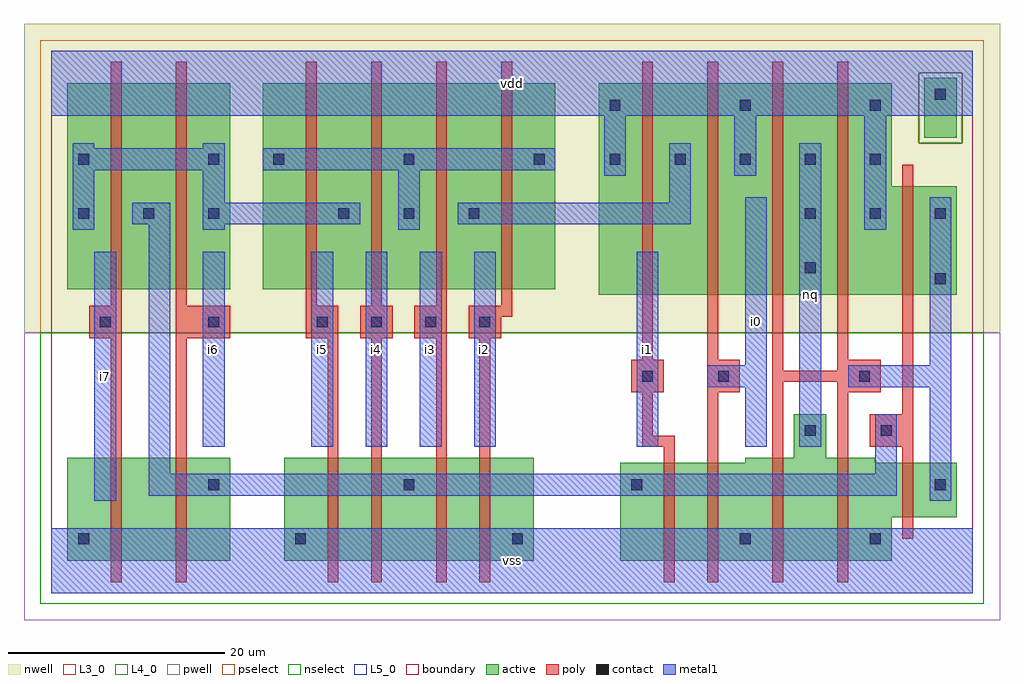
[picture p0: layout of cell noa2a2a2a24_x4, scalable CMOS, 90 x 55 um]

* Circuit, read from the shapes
.subckt noa2a2a2a24_x4 i0 i1 i2 i3 i4 i5 i6 i7 nq vdd vss
M1 n1 i7 vss VSUBS nfet w=9.5u l=1u
M2 n2 i6 n1 VSUBS nfet w=9.5u l=1u
M3 n3 i5 vss VSUBS nfet w=9.5u l=1u
M4 n2 i4 n3 VSUBS nfet w=9.5u l=1u
M5 n4 i3 n2 VSUBS nfet w=9.5u l=1u
M6 vss i2 n4 VSUBS nfet w=9.5u l=1u
M7 n5 i1 n2 VSUBS nfet w=9u l=1u
M8 vss i0 n5 VSUBS nfet w=9u l=1u
M9 nq n6 vss VSUBS nfet w=9.5u l=1u m=2
M10 n6 n2 vss VSUBS nfet w=5u l=1u
M11 n2 i7 n7 vdd pfet w=19u l=1u
M12 n7 i6 n2 vdd pfet w=19u l=1u
M13 n7 i5 n8 vdd pfet w=19u l=1u
M14 n8 i4 n7 vdd pfet w=19u l=1u
M15 n9 i3 n8 vdd pfet w=19u l=1u
M16 n8 i2 n9 vdd pfet w=19u l=1u
M17 n9 i1 vdd vdd pfet w=19.5u l=1u
M18 vdd i0 n9 vdd pfet w=19.5u l=1u
M19 nq n6 vdd vdd pfet w=19.5u l=1u m=2
M20 n6 n2 vdd vdd pfet w=10u l=1u
.ends

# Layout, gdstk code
import gdstk
lib = gdstk.Library(unit=1e-6, precision=1e-09)
def R(c, l, rs):  # rectangles x0, y0, x1, y1
    for r in rs: c.add(gdstk.rectangle(r[:2], r[2:], *l))
def A(c, l, x, y, w, h, nx, ny, dx, dy):  # array of equal rectangles
    R(c, l, [(x+i*dx, y+j*dy, x+i*dx+w, y+j*dy+h) for i in range(nx) for j in range(ny)])
L3_0 = (3, 0)
L4_0 = (4, 0)
L5_0 = (5, 0)
contact = (25, 0)
pwell = (41, 0)
nwell = (42, 0)
active = (43, 0)
pselect = (44, 0)
nselect = (45, 0)
poly = (46, 0)
metal1 = (49, 0)
boundary = (63, 0)

noa2a2a2a24_x4 = lib.new_cell('noa2a2a2a24_x4')
R(noa2a2a2a24_x4, L3_0, [(1.5,3,16.5,12.5), (21.5,3,44.5,12.5), (52.5,3,77.5,7), (52.5,7,83.5,12), (64,12,76,12.5), (68.5,12.5,71.5,16.5)])
R(noa2a2a2a24_x4, L4_0, [(50.5,27.5,83.5,37.5), (1.5,28,16.5,47), (19.5,28,46.5,47), (50.5,37.5,77.5,47)])
R(noa2a2a2a24_x4, L5_0, [(80.5,42,83.5,47.5)])
A(noa2a2a2a24_x4, contact, 2.5, 4.5, 1, 1, 3, 1, 20, 0)
A(noa2a2a2a24_x4, contact, 4.5, 24.5, 1, 1, 3, 1, 10, 0)
A(noa2a2a2a24_x4, contact, 29.5, 24.5, 1, 1, 3, 1, 5, 0)
A(noa2a2a2a24_x4, contact, 2.5, 34.5, 1, 1, 3, 1, 6, 0)
A(noa2a2a2a24_x4, contact, 26.5, 34.5, 1, 1, 3, 1, 6, 0)
A(noa2a2a2a24_x4, contact, 69.5, 34.5, 1, 1, 3, 1, 6, 0)
A(noa2a2a2a24_x4, contact, 20.5, 39.5, 1, 1, 3, 1, 12, 0)
A(noa2a2a2a24_x4, contact, 51.5, 39.5, 1, 1, 5, 1, 6, 0)
A(noa2a2a2a24_x4, contact, 51.5, 44.5, 1, 1, 3, 1, 12, 0)
R(noa2a2a2a24_x4, contact, [(63.5,4.5,64.5,5.5), (75.5,4.5,76.5,5.5), (14.5,9.5,15.5,10.5), (32.5,9.5,33.5,10.5), (53.5,9.5,54.5,10.5), (81.5,9.5,82.5,10.5), (69.5,14.5,70.5,15.5), (76.5,14.5,77.5,15.5), (54.5,19.5,55.5,20.5), (61.5,19.5,62.5,20.5), (74.5,19.5,75.5,20.5), (81.5,28.5,82.5,29.5), (69.5,29.5,70.5,30.5), (2.5,39.5,3.5,40.5), (14.5,39.5,15.5,40.5), (81.5,45.5,82.5,46.5)])
R(noa2a2a2a24_x4, pwell, [(-2.5,-2.5,87.5,24)])
R(noa2a2a2a24_x4, nwell, [(-2.5,24,87.5,52.5)])
R(noa2a2a2a24_x4, active, [(1.5,3,16.5,12.5), (21.5,3,44.5,12.5), (52.5,3,77.5,7), (52.5,7,83.5,12), (64,12,76,12.5), (68.5,12.5,71.5,16.5), (50.5,27.5,83.5,37.5), (1.5,28,16.5,47), (19.5,28,46.5,47), (50.5,37.5,77.5,47), (80.5,42,83.5,47.5)])
R(noa2a2a2a24_x4, pselect, [(-1,24,86,41.5), (-1,41.5,80,48), (84,41.5,86,48), (-1,48,86,51)])
R(noa2a2a2a24_x4, nselect, [(-1,-1,86,24), (80,41.5,84,48)])
A(noa2a2a2a24_x4, poly, 23.5, 23.5, 3, 3, 3, 1, 5, 0)
A(noa2a2a2a24_x4, poly, 23.5, 26.5, 1, 22.5, 4, 1, 6, 0)
R(noa2a2a2a24_x4, poly, [(5.5,1,6.5,23.5), (11.5,1,12.5,23.5), (25.5,1,26.5,23.5), (29.5,1,30.5,23.5), (35.5,1,36.5,23.5), (39.5,1,40.5,23.5), (56.5,1,57.5,13.5), (60.5,1,61.5,18.5), (66.5,1,67.5,19.5), (72.5,1,73.5,18.5), (78.5,5,79.5,13.5), (54.5,13.5,57.5,14.5), (75.5,13.5,79.5,16.5), (54.5,14.5,55.5,18.5), (78.5,16.5,79.5,39.5), (53.5,18.5,56.5,21.5), (60.5,18.5,63.5,21.5), (72.5,18.5,76.5,19.5), (66.5,19.5,76.5,20.5), (66.5,20.5,67.5,49), (72.5,20.5,76.5,21.5), (54.5,21.5,55.5,49), (60.5,21.5,61.5,49), (72.5,21.5,73.5,49), (3.5,23.5,6.5,26.5), (11.5,23.5,16.5,26.5), (38.5,23.5,41.5,25.5), (38.5,25.5,42.5,26.5), (5.5,26.5,6.5,49), (11.5,26.5,12.5,49)])
R(noa2a2a2a24_x4, metal1, [(0,0,85,6), (0,0,85,6), (4,8.5,6,31.5), (4,8.5,6,31.5), (81,8.5,83,19), (81,8.5,83,19), (9,9,78,11), (9,9,78,11), (9,11,11,34), (9,11,11,34), (76,11,78,16.5), (76,11,78,16.5), (14,13.5,16,31.5), (14,13.5,16,31.5), (24,13.5,26,31.5), (24,13.5,26,31.5), (29,13.5,31,31.5), (29,13.5,31,31.5), (34,13.5,36,31.5), (34,13.5,36,31.5), (39,13.5,41,31.5), (39,13.5,41,31.5), (54,13.5,56,31.5), (54,13.5,56,31.5), (64,13.5,66,19), (64,13.5,66,19), (69,13.5,71,41.5), (69,13.5,71,41.5), (60.5,19,66,21), (60.5,19,66,21), (73.5,19,83,21), (73.5,19,83,21), (64,21,66,36.5), (64,21,66,36.5), (81,21,83,36.5), (81,21,83,36.5), (2,33.5,4,39), (2,33.5,4,39), (14,33.5,16,34), (14,33.5,16,34), (32,33.5,34,39), (32,33.5,34,39), (75,33.5,77,44), (75,33.5,77,44), (7.5,34,11,36), (7.5,34,11,36), (14,34,28.5,36), (14,34,28.5,36), (37.5,34,59,36), (37.5,34,59,36), (14,36,16,39), (14,36,16,39), (57,36,59,41.5), (57,36,59,41.5), (51,38.5,53,44), (51,38.5,53,44), (63,38.5,65,44), (63,38.5,65,44), (2,39,16,41), (2,39,16,41), (19.5,39,46.5,41), (19.5,39,46.5,41), (2,41,4,41.5), (2,41,4,41.5), (14,41,16,41.5), (14,41,16,41.5), (0,44,85,50), (0,44,85,50)])
R(noa2a2a2a24_x4, boundary, [(0,0,85,50)])
noa2a2a2a24_x4.add(gdstk.Label('i6', (15,22.5), layer=49, texttype=0))
noa2a2a2a24_x4.add(gdstk.Label('i7', (5,20), layer=49, texttype=0))
noa2a2a2a24_x4.add(gdstk.Label('i2', (40,22.5), layer=49, texttype=0))
noa2a2a2a24_x4.add(gdstk.Label('i3', (35,22.5), layer=49, texttype=0))
noa2a2a2a24_x4.add(gdstk.Label('i4', (30,22.5), layer=49, texttype=0))
noa2a2a2a24_x4.add(gdstk.Label('i5', (25,22.5), layer=49, texttype=0))
noa2a2a2a24_x4.add(gdstk.Label('vss', (42.5,3), layer=49, texttype=0))
noa2a2a2a24_x4.add(gdstk.Label('i1', (55,22.5), layer=49, texttype=0))
noa2a2a2a24_x4.add(gdstk.Label('vdd', (42.5,47), layer=49, texttype=0))
noa2a2a2a24_x4.add(gdstk.Label('i0', (65,25), layer=49, texttype=0))
noa2a2a2a24_x4.add(gdstk.Label('nq', (70,27.5), layer=49, texttype=0))

lib.write_gds('noa2a2a2a24_x4.gds')
